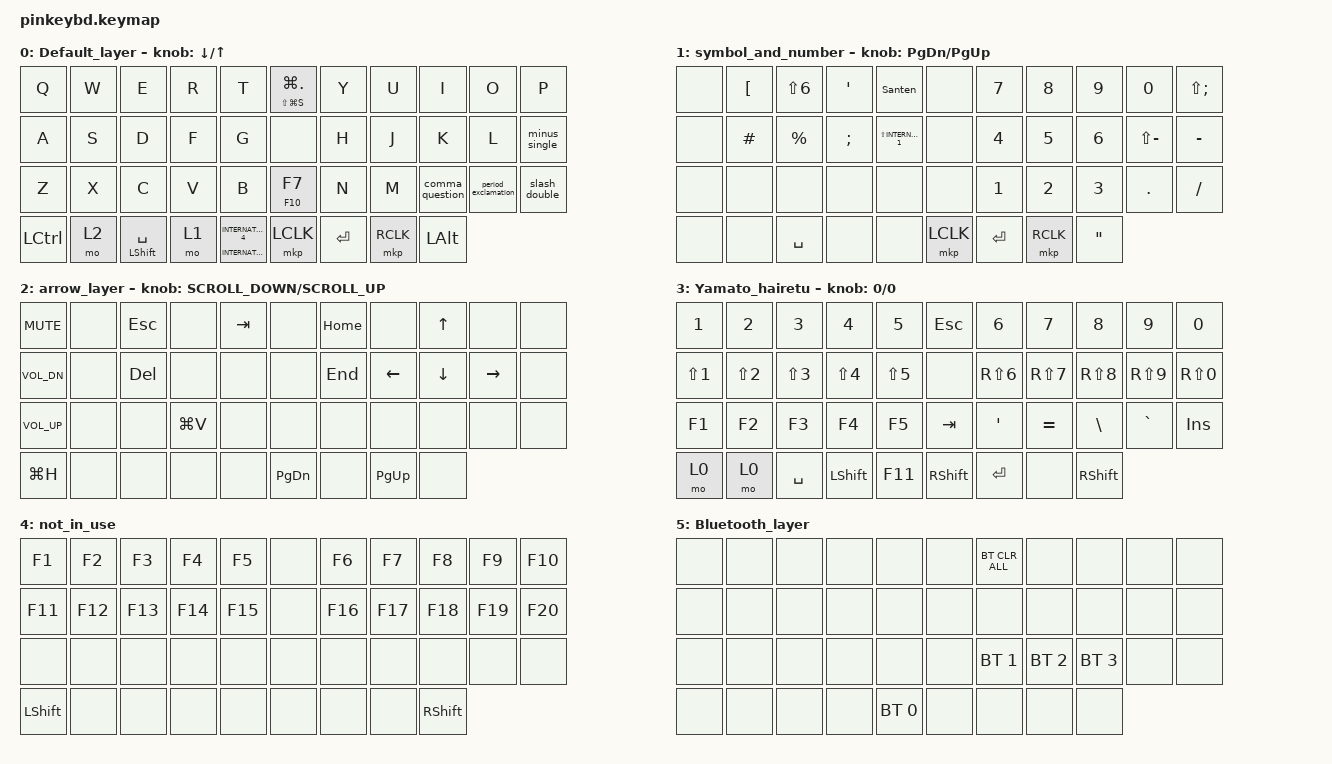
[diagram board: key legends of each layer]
#include <behaviors.dtsi>
#include <dt-bindings/zmk/bt.h>
#include <dt-bindings/zmk/keys.h>
#include <dt-bindings/zmk/pointing.h>

#define ZMK_POINTING_DEFAULT_SCRL_VAL 80

&lt { tapping-term-ms = <140>; };

/ {
    behaviors {
        rot_kp: sensor_rotate_kp {
            compatible = "zmk,behavior-sensor-rotate-var";
            #sensor-binding-cells = <2>;
            bindings = <&kp>, <&kp>;
        };

        minus_single: minus_single {
            compatible = "zmk,behavior-mod-morph";
            label = "MINUS_SINGLE";
            bindings = <&kp MINUS>, <&kp LS(INTERNATIONAL_7)>;

            #binding-cells = <0>;
            mods = <(MOD_LSFT)>;
        };

        slash_double: slash_double {
            compatible = "zmk,behavior-mod-morph";
            label = "SLASH_DOUBLE";
            bindings = <&kp SLASH>, <&kp AT_SIGN>;

            #binding-cells = <0>;
            mods = <(MOD_LSFT)>;
        };

        period_exclamation: period_exclamation {
            compatible = "zmk,behavior-mod-morph";
            label = "PERIOD_EXCLAMATION";
            bindings = <&kp PERIOD>, <&kp EXCLAMATION>;

            #binding-cells = <0>;
            mods = <(MOD_LSFT)>;
        };

        comma_question: comma_question {
            compatible = "zmk,behavior-mod-morph";
            label = "COMMA_QUESTION";
            bindings = <&kp COMMA>, <&kp QUESTION>;

            #binding-cells = <0>;
            mods = <(MOD_LSFT)>;
        };
    };

    combos {
        compatible = "zmk,combos";

        middle_click {
            bindings = <&mkp MCLK>;
            key-positions = <38 40>;
            layers = <1 0>;
        };

        left_kakko {
            bindings = <&kp LS(N8)>;
            key-positions = <2 3>;
            layers = <0 2>;
        };

        right_kakko {
            bindings = <&kp LS(N9)>;
            key-positions = <3 4>;
            layers = <0 1>;
        };

        left_kagi {
            bindings = <&kp RIGHT_BRACKET>;
            key-positions = <13 14>;
            layers = <0 1>;
        };

        right_kagi {
            bindings = <&kp NUHS>;
            key-positions = <14 15>;
            layers = <0 1>;
        };

        syounari {
            bindings = <&kp LS(COMMA)>;
            key-positions = <24 25>;
            layers = <0 1>;
        };

        dainari {
            bindings = <&kp LS(PERIOD)>;
            key-positions = <25 26>;
            layers = <0 1>;
        };

        left_boot {
            bindings = <&bootloader>;
            key-positions = <2 3 4 5>;
            layers = <0>;
        };

        right_boot {
            bindings = <&bootloader>;
            key-positions = <7 8 9 10>;
            layers = <0>;
        };

        BT_CLR_ALL {
            bindings = <&mo 5>;
            key-positions = <26 27>;
            layers = <2>;
        };

        backspace {
            bindings = <&kp BACKSPACE>;
            key-positions = <18 20>;
            layers = <0 1>;
        };
    };

    macros {
        Santen: Santen {
            compatible = "zmk,behavior-macro";
            #binding-cells = <0>;
            bindings = <&kp QUESTION &kp T &kp INTERNATIONAL_4>;
            label = "SANTEN";
        };
    };

    keymap {
        compatible = "zmk,keymap";

        // ---------------------------------------------------------------------------------------------------------------------------------------------------------------------------------------------------------------
        // |        /       |       ,       |       .       |      -        |      ;       |    ESC         |                   |           |       L      |       R       |       D       |       Y       |      P      |
        // |        A       |       O       |       E       |      I        |      U       |    SCROLLLOCK  |                   |           |       G      |       N       |       T       |       S       |      K      |
        // |        X       |       C       |       V       |      W        |      Q       |    TAB         |                   |     F     |       J      |       H       |       M       |       B       |      Z      |
        // |    L_SHIFT     |               |               |   LOWER / Jp  |    Space     |    LEFT_WIN    |                   |  R_SHIFT  |      ENTER   |  LOWER2 / Ja  |               |               |   FUN_L     |
        // ---------------------------------------------------------------------------------------------------------------------------------------------------------------------------------------------------------------
        // ----------------------------------------------------------------------------------------------------------------------------------------------------------------------------------------------------------------
        // |    /           |       ,       |       END     |     （        |      ”        |    PAUSE_BREAK|                  |            |      （       |       ）     |        ↑      |        [      |      ]      |
        // |    HOME        |       C_SAVE  |       END     |       ）      |       U       |    SCROLLLOCK |                  |            |   Backspace   |       ←      |        ↓      |        →      |     DEL     |
        // |    UNDO        |       CUT     |       COPY    |       PASTE   |       Q       |    TAB        |                  |   PSCRN    |    ' / "      |    = / +     |    \ / |      |    ` / ~      |    INS      |
        // |    L_SHIFT     |               |               |       none    |    SPACE      |    LALT       |                  |   RSHIFT   |   ENTER       |       FUN_L  |               |               |    RCTRL    |
        // ----------------------------------------------------------------------------------------------------------------------------------------------------------------------------------------------------------------

        Default_layer {
            bindings = <
&kp Q      &kp W  &kp E                 &kp R  &kp T                                &mt LS(LG(S)) LG(PERIOD)  &kp Y      &kp U      &kp I            &kp O                &kp P
&kp A      &kp S  &kp D                 &kp F  &kp G                                &none                     &kp H      &kp J      &kp K            &kp L                &minus_single
&kp Z      &kp X  &kp C                 &kp V  &kp B                                &mt F10 F7                &kp N      &kp M      &comma_question  &period_exclamation  &slash_double
&kp LCTRL  &mo 2  &mt LEFT_SHIFT SPACE  &mo 1  &mt INTERNATIONAL_5 INTERNATIONAL_4  &mkp LCLK                 &kp ENTER  &mkp RCLK  &kp LEFT_ALT
            >;

            sensor-bindings = <&inc_dec_kp DOWN UP_ARROW>;
        };

        symbol_and_number {
            bindings = <
&none  &kp LEFT_BRACKET  &kp LS(NUMBER_6)  &kp SINGLE_QUOTE  &Santen                  &none      &kp N7        &kp N8        &kp N9             &kp N0         &kp LS(SEMI)
&none  &kp HASH          &kp PERCENT       &kp SEMICOLON     &kp LS(INTERNATIONAL_1)  &none      &kp NUMBER_4  &kp N5        &kp NUMBER_6       &kp LS(MINUS)  &kp MINUS
&none  &none             &none             &none             &none                    &none      &kp NUMBER_1  &kp NUMBER_2  &kp NUMBER_3       &kp PERIOD     &kp SLASH
&none  &none             &kp SPACE         &none             &none                    &mkp LCLK  &kp ENTER     &mkp RCLK     &kp DOUBLE_QUOTES
            >;

            sensor-bindings = <&inc_dec_kp PAGE_DOWN PG_UP>;
        };

        arrow_layer {
            bindings = <
&kp K_MUTE       &none  &kp ESC  &none      &kp TAB  &none          &kp HOME  &none        &kp UP_ARROW    &none      &none
&kp C_VOL_DN     &none  &kp DEL  &none      &none    &none          &kp END   &kp LEFT     &kp DOWN_ARROW  &kp RIGHT  &none
&kp C_VOLUME_UP  &none  &none    &kp LG(V)  &none    &none          &none     &none        &none           &none      &none
&kp LG(H)        &none  &none    &none      &none    &kp PAGE_DOWN  &none     &kp PAGE_UP  &none
            >;

            sensor-bindings = <&inc_dec_kp K_SCROLL_DOWN K_SCROLL_UP>;
        };

        Yamato_hairetu {
            bindings = <
&kp N1      &kp N2      &kp N3      &kp N4      &kp N5      &kp ESC     &kp N6      &kp N7      &kp N8      &kp N9      &kp N0
&kp LS(N1)  &kp LS(N2)  &kp LS(N3)  &kp LS(N4)  &kp LS(N5)  &none       &kp RS(N6)  &kp RS(N7)  &kp RS(N8)  &kp RS(N9)  &kp RS(N0)
&kp F1      &kp F2      &kp F3      &kp F4      &kp F5      &kp TAB     &kp APOS    &kp EQUAL   &kp BSLH    &kp GRAVE   &kp INS
&mo 0       &mo 0       &kp SPACE   &kp LSHIFT  &kp F11     &kp RSHIFT  &kp ENTER   &none       &kp RSHIFT
            >;

            sensor-bindings = <&inc_dec_kp 0 0>;
        };

        not_in_use {
            bindings = <
&kp F1      &kp F2   &kp F3   &kp F4   &kp F5   &none  &kp F6   &kp F7   &kp F8      &kp F9   &kp F10
&kp F11     &kp F12  &kp F13  &kp F14  &kp F15  &none  &kp F16  &kp F17  &kp F18     &kp F19  &kp F20
&none       &none    &none    &none    &none    &none  &none    &none    &none       &none    &none
&kp LSHIFT  &none    &none    &none    &none    &none  &none    &none    &kp RSHIFT
            >;
        };

        Bluetooth_layer {
            bindings = <
&none  &none  &none  &none  &none         &none  &bt BT_CLR_ALL  &none         &none         &none  &none
&none  &none  &none  &none  &none         &none  &none           &none         &none         &none  &none
&none  &none  &none  &none  &none         &none  &bt BT_SEL 1    &bt BT_SEL 2  &bt BT_SEL 3  &none  &none
&none  &none  &none  &none  &bt BT_SEL 0  &none  &none           &none         &none
            >;
        };
    };
};
